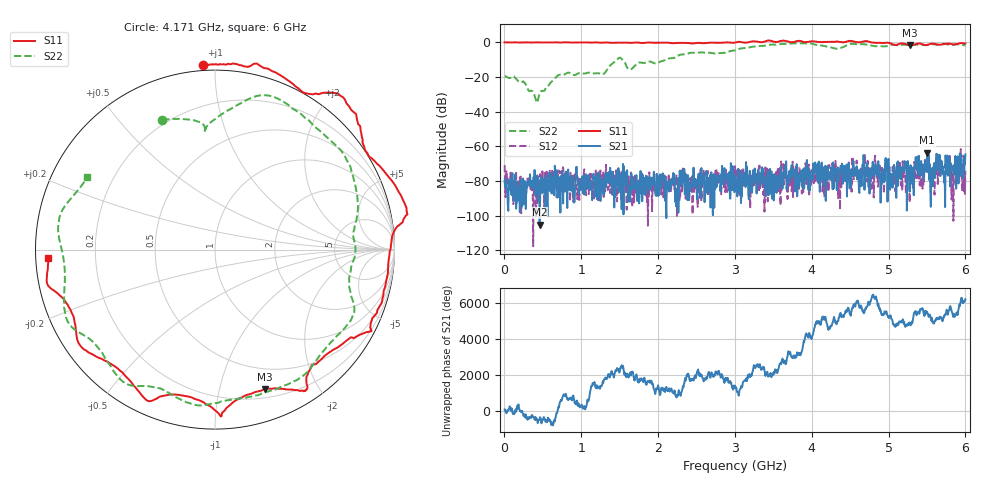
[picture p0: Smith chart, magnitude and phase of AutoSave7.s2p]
!Agilent N9923A: A.05.17
!Date: Sunday, 01 January 2006 13:14:40
!Model: N9923A
!Serial: MY50371189
!CHECKSUM:0528692217
!Correction: S11(OFF)S21(OFF)S12(OFF)S22(ON U)
!S2P File: Measurements:S11,S21,S12,S22:
# Hz S DB R 50
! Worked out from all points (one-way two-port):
!   1001 points, 2 MHz to 6 GHz, reference 50 ohm
!   highest |S21| = -63.66 dB at 5.502 GHz (marker M1); lowest = -105.1 dB at 457.8 MHz (marker M2)
!   lowest |S11| = -1.7 dB at 5.274 GHz (marker M3), VSWR 10.39, Z = 14.2 - j69 ohm
!   |S11| at or under -10 dB: nowhere
!   |S22| runs from -34.8 to -0.5 dB; largest |S21 - S12| = 0.00087
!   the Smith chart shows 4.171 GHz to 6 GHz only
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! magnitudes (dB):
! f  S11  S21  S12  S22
! 2 MHz  0.0  -79.7  -70.8  -19.6
! 37.99 MHz  -0.1  -87.6  -78.2  -20.1
! 457.8 MHz  -0.1  -105.1  -82.2  -29.6
! 703.8 MHz  -0.1  -77.5  -74.4  -18.9
! 1.004 GHz  -0.1  -79.3  -78.7  -17.8
! 1.286 GHz  -0.2  -87.5  -74.6  -18.4
! 1.496 GHz  -0.2  -85.8  -74.5  -8.9
! 1.633 GHz  -0.3  -91.9  -86.3  -15.7
! 2.005 GHz  -0.2  -78.0  -84.0  -11.6
! 3.001 GHz  -0.1  -76.8  -71.5  -4.6
! 4.003 GHz  0.6  -77.0  -73.9  -0.8
! 5.004 GHz  -0.3  -79.9  -80.6  -1.8
! 5.274 GHz  -1.7  -86.1  -92.4  -1.5
! 5.376 GHz  -0.7  -65.9  -70.9  -1.4
! 5.43 GHz  -1.0  -74.9  -74.4  -1.3
! 5.502 GHz  -1.5  -63.7  -71.3  -1.5
! 5.58 GHz  -0.7  -78.4  -79.2  -1.0
! 5.634 GHz  -1.2  -68.3  -67.1  -1.4
! 5.718 GHz  -1.0  -74.7  -75.7  -0.8
! 5.772 GHz  -0.7  -76.9  -73.2  -1.3
! 5.85 GHz  -1.2  -76.1  -74.7  -1.3
! 6 GHz  -0.6  -64.6  -74.0  -1.7
